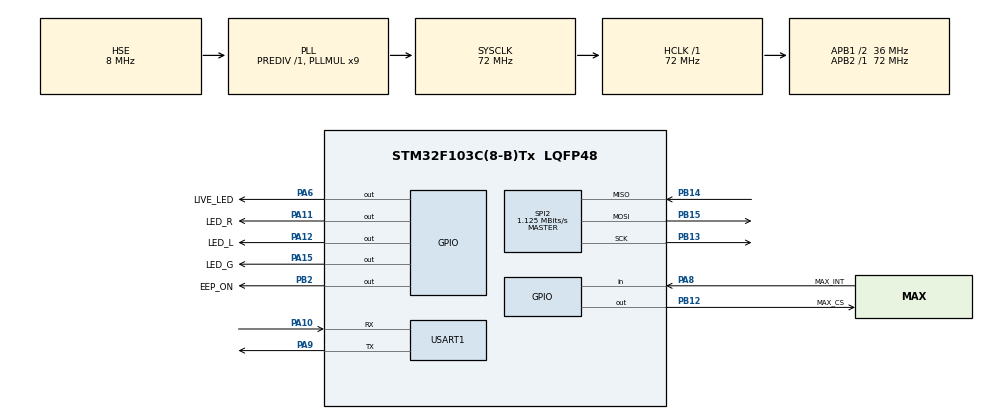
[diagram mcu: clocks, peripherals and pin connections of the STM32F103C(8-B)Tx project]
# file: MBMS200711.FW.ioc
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Mcu.Family=STM32F1
NVIC.DMA1_Channel5_IRQn=true\:0\:0\:false\:false\:true\:false\:true
SPI2.VirtualType=VM_MASTER
PA6.GPIO_Label=LIVE_LED
PB13.Signal=SPI2_SCK
PB15.Signal=SPI2_MOSI
RCC.SYSCLKSource=RCC_SYSCLKSOURCE_PLLCLK
ProjectManager.StackSize=0x400
PD1-OSC_OUT.Signal=RCC_OSC_OUT
PA15.GPIO_Label=LED_G
PA12.Signal=GPIO_Output
RCC.HCLKFreq_Value=72000000
RCC.APB2TimFreq_Value=72000000
PB12.PinState=GPIO_PIN_SET
RCC.AHBFreq_Value=72000000
SPI2.BaudRatePrescaler=SPI_BAUDRATEPRESCALER_32
Dma.USART1_RX.0.Priority=DMA_PRIORITY_LOW
PB2.Signal=GPIO_Output
PB3.Mode=Trace_Asynchronous_SW
RCC.PLLMUL=RCC_PLL_MUL9
PB12.GPIO_Label=MAX_CS
PA14.Mode=Trace_Asynchronous_SW
PB14.Mode=Full_Duplex_Master
SPI2.CalculateBaudRate=1.125 MBits/s
PA8.Signal=GPIO_Input
Dma.USART1_RX.0.MemInc=DMA_MINC_ENABLE
Mcu.Package=LQFP48
PB14.GPIO_PuPd=GPIO_PULLUP
PA6.Signal=GPIO_Output
SPI2.Mode=SPI_MODE_MASTER
PA10.Signal=USART1_RX
PA15.Signal=GPIO_Output
RCC.APB1TimFreq_Value=72000000
Dma.USART1_RX.0.Mode=DMA_NORMAL
SPI2.Direction=SPI_DIRECTION_2LINES
PB13.Mode=Full_Duplex_Master
NVIC.USART1_IRQn=true\:0\:0\:false\:false\:true\:true\:true
Dma.Request0=USART1_RX
Dma.USART1_RX.0.Instance=DMA1_Channel5
RCC.PLLSourceVirtual=RCC_PLLSOURCE_HSE
PD1-OSC_OUT.Mode=HSE-External-Oscillator
Dma.USART1_RX.0.PeriphDataAlignment=DMA_PDATAALIGN_BYTE
PA10.Mode=Asynchronous
RCC.USBPrescaler=RCC_USBCLKSOURCE_PLL_DIV1_5
PA11.GPIO_Label=LED_R
PD0-OSC_IN.Signal=RCC_OSC_IN
RCC.APB1CLKDivider=RCC_HCLK_DIV2
PA12.GPIO_Label=LED_L
RCC.ADCPresc=RCC_ADCPCLK2_DIV8
PA13.Signal=SYS_JTMS-SWDIO
PA9.Mode=Asynchronous
PA8.GPIO_Label=MAX_INT
ProjectManager.TargetToolchain=STM32CubeIDE
Dma.USART1_RX.0.Direction=DMA_PERIPH_TO_MEMORY
PA9.Signal=USART1_TX
RCC.USBFreq_Value=48000000
Dma.USART1_RX.0.PeriphInc=DMA_PINC_DISABLE
PB12.GPIO_Speed=GPIO_SPEED_FREQ_HIGH
PD0-OSC_IN.Mode=HSE-External-Oscillator
PB14.Signal=SPI2_MISO
board=custom
PB15.Mode=Full_Duplex_Master
RCC.APB2Freq_Value=72000000
PB15.GPIO_Speed=GPIO_SPEED_FREQ_HIGH
Dma.USART1_RX.0.MemDataAlignment=DMA_MDATAALIGN_BYTE
PA13.Mode=Trace_Asynchronous_SW
Mcu.Name=STM32F103C(8-B)Tx
PB3.Signal=SYS_JTDO-TRACESWO
RCC.SYSCLKFreq_VALUE=72000000
USART1.VirtualMode=VM_ASYNC
PA11.Signal=GPIO_Output
PA14.Signal=SYS_JTCK-SWCLK
PB2.GPIO_Label=EEP_ON
ProjectManager.HeapSize=0x200
NVIC.PriorityGroup=NVIC_PRIORITYGROUP_4
PB12.GPIO_PuPd=GPIO_PULLUP
RCC.APB1Freq_Value=36000000
PB12.Signal=GPIO_Output

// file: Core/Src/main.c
/* USER CODE BEGIN Header */
/**
  ******************************************************************************
  * @file           : main.c
  * @brief          : Main program body
  ******************************************************************************
  * @attention
  *
  * <h2><center>&copy; Copyright (c) 2020 STMicroelectronics.
  * All rights reserved.</center></h2>
  *
  * This software component is licensed by ST under BSD 3-Clause license,
  * the "License"; You may not use this file except in compliance with the
  * License. You may obtain a copy of the License at:
  *                        opensource.org/licenses/BSD-3-Clause
  *
  ******************************************************************************
  */
/* USER CODE END Header */
#include "main.h"

/* USER CODE BEGIN Includes */

#include "common.h"
#include "LiveLed.h"
#include "StringPlus.h"
#include "asci.h"
/* USER CODE END Includes */

/* USER CODE BEGIN PTD */
typedef struct _DeviceTypeDef
{
  struct _status
  {
    uint32_t UartTaskCnt;
    uint32_t SuccessParsedCmdCnt;
  }Status;

}DeviceTypeDef;

/* USER CODE END PTD */

/* USER CODE BEGIN PD */
#define UART_BUFFER_SIZE        40
#define CMDLINE_UNKNOWN_PARAMETER_ERROR    "!UNKNOWN PARAMETER ERROR '%s'"
/* USER CODE END PD */

SPI_HandleTypeDef hspi2;

UART_HandleTypeDef huart1;
DMA_HandleTypeDef hdma_usart1_rx;

/* USER CODE BEGIN PV */
LiveLED_HnadleTypeDef hLiveLed;
DeviceTypeDef Device;
uint32_t UartRxTimestamp;
char UartRxBuffer[UART_BUFFER_SIZE];
char UartTxBuffer[UART_BUFFER_SIZE];
char Receive[UART_BUFFER_SIZE];

/* USER CODE END PV */

void SystemClock_Config(void);
static void MX_GPIO_Init(void);
static void MX_DMA_Init(void);
static void MX_SPI2_Init(void);
static void MX_USART1_UART_Init(void);
void UartTask(void);
/* USER CODE BEGIN PFP */
void LiveLedOff(void);
void LiveLedOn(void);

/* USER CODE END PFP */

/* USER CODE BEGIN 0 */
void HAL_UART_RxCpltCallback(UART_HandleTypeDef *huart)
{
  DeviceErrLog("Megtelt");
}

void UartTask(void)
{
  if(strlen(UartRxBuffer)==0)
    return;

  uint8_t terminated = 0;
  for(uint8_t i=0; i<strlen(UartRxBuffer);i++)
    if(UartRxBuffer[i]=='\r' || UartRxBuffer[i]=='\n')
    {
      UartRxBuffer[i]=0;
      terminated = 1;
    }

  if(!terminated)
     return;
  else
    HAL_UART_DMAStop(&huart1);

  if(!strcmp(UartRxBuffer , "*OPC?"))
  {
    Device.Status.SuccessParsedCmdCnt++;
    strcpy(UartTxBuffer, "*OPC");
  }
  else
  {
    sprintf(UartTxBuffer, CMDLINE_UNKNOWN_PARAMETER_ERROR, UartRxBuffer);
  }

  uint8_t resp_len =strlen(UartTxBuffer);
  UartTxBuffer[resp_len]= '\r';
  UartTxBuffer[++resp_len]= 0;

  if(strlen(UartTxBuffer)!=0)
  {
    //!!!DeviceDbgLog("Rx:%s, Tx:%s",UartRxBuffer,UartTxBuffer);
    HAL_UART_Transmit(&huart1, (uint8_t*) UartTxBuffer, sizeof(UartTxBuffer), 100);
    memset(UartTxBuffer,0x00,UART_BUFFER_SIZE);
    HAL_UART_Receive_DMA(&huart1, (uint8_t*) UartRxBuffer, UART_BUFFER_SIZE);
  }
}
/* USER CODE END 0 */

int main(void)
{

  /* MCU Configuration--------------------------------------------------------*/

  /* Reset of all peripherals, Initializes the Flash interface and the Systick. */
  HAL_Init();

  /* USER CODE BEGIN Init */
  /*** LiveLed ***/
  hLiveLed.LedOffFnPtr = &LiveLedOff;
  hLiveLed.LedOnFnPtr = &LiveLedOn;
  hLiveLed.HalfPeriodTimeMs = 500;
  LiveLedInit(&hLiveLed);
  /* USER CODE END Init */

  /* Configure the system clock */
  SystemClock_Config();

  /* Initialize all configured peripherals */
  MX_GPIO_Init();
  MX_DMA_Init();
  MX_SPI2_Init();
  MX_USART1_UART_Init();
  /* USER CODE BEGIN 2 */

  DelayMs(500);

  DeviceUsrLog(VT100_CLEARSCREEN);
  DeviceUsrLog(VT100_CURSORHOME);
  DeviceUsrLog(VT100_ATTR_RESET);

#ifdef DEBUG
  DeviceUsrLog(VT100_ATTR_RED);
  DeviceUsrLog("This is a DEBUG version.");
  DeviceUsrLog(VT100_ATTR_RESET);
#endif

  DeviceUsrLog("Manufacturer:%s, Name:%s, Version:%04X",DEVICE_MNF, DEVICE_NAME, DEVICE_FW);

  UartRxTimestamp = HAL_GetTick();

  AsciAdapterInit();
  HAL_UART_Receive_DMA (&huart1, (uint8_t*)UartRxBuffer, UART_BUFFER_SIZE);
  /* USER CODE END 2 */

  /* Infinite loop */
  while (1)
  {

    /* USER CODE BEGIN 3 */
    LiveLedTask(&hLiveLed);
    AsciAdapterTask();
    UartTask();
  }
  /* USER CODE END 3 */
}

void SystemClock_Config(void)
{
  RCC_OscInitTypeDef RCC_OscInitStruct = {0};
  RCC_ClkInitTypeDef RCC_ClkInitStruct = {0};

  /** Initializes the RCC Oscillators according to the specified parameters
  * in the RCC_OscInitTypeDef structure.
  */
  RCC_OscInitStruct.OscillatorType = RCC_OSCILLATORTYPE_HSE;
  RCC_OscInitStruct.HSEState = RCC_HSE_ON;
  RCC_OscInitStruct.HSEPredivValue = RCC_HSE_PREDIV_DIV1;
  RCC_OscInitStruct.HSIState = RCC_HSI_ON;
  RCC_OscInitStruct.PLL.PLLState = RCC_PLL_ON;
  RCC_OscInitStruct.PLL.PLLSource = RCC_PLLSOURCE_HSE;
  RCC_OscInitStruct.PLL.PLLMUL = RCC_PLL_MUL9;
  if (HAL_RCC_OscConfig(&RCC_OscInitStruct) != HAL_OK)
  {
    Error_Handler();
  }
  /** Initializes the CPU, AHB and APB buses clocks
  */
  RCC_ClkInitStruct.ClockType = RCC_CLOCKTYPE_HCLK|RCC_CLOCKTYPE_SYSCLK
                              |RCC_CLOCKTYPE_PCLK1|RCC_CLOCKTYPE_PCLK2;
  RCC_ClkInitStruct.SYSCLKSource = RCC_SYSCLKSOURCE_PLLCLK;
  RCC_ClkInitStruct.AHBCLKDivider = RCC_SYSCLK_DIV1;
  RCC_ClkInitStruct.APB1CLKDivider = RCC_HCLK_DIV2;
  RCC_ClkInitStruct.APB2CLKDivider = RCC_HCLK_DIV1;

  if (HAL_RCC_ClockConfig(&RCC_ClkInitStruct, FLASH_LATENCY_2) != HAL_OK)
  {
    Error_Handler();
  }
}

static void MX_SPI2_Init(void)
{

  /* SPI2 parameter configuration*/
  hspi2.Instance = SPI2;
  hspi2.Init.Mode = SPI_MODE_MASTER;
  hspi2.Init.Direction = SPI_DIRECTION_2LINES;
  hspi2.Init.DataSize = SPI_DATASIZE_8BIT;
  hspi2.Init.CLKPolarity = SPI_POLARITY_LOW;
  hspi2.Init.CLKPhase = SPI_PHASE_1EDGE;
  hspi2.Init.NSS = SPI_NSS_SOFT;
  hspi2.Init.BaudRatePrescaler = SPI_BAUDRATEPRESCALER_32;
  hspi2.Init.FirstBit = SPI_FIRSTBIT_MSB;
  hspi2.Init.TIMode = SPI_TIMODE_DISABLE;
  hspi2.Init.CRCCalculation = SPI_CRCCALCULATION_DISABLE;
  hspi2.Init.CRCPolynomial = 10;
  if (HAL_SPI_Init(&hspi2) != HAL_OK)
  {
    Error_Handler();
  }

}

static void MX_USART1_UART_Init(void)
{

  huart1.Instance = USART1;
  huart1.Init.BaudRate = 115200;
  huart1.Init.WordLength = UART_WORDLENGTH_8B;
  huart1.Init.StopBits = UART_STOPBITS_1;
  huart1.Init.Parity = UART_PARITY_NONE;
  huart1.Init.Mode = UART_MODE_TX_RX;
  huart1.Init.HwFlowCtl = UART_HWCONTROL_NONE;
  huart1.Init.OverSampling = UART_OVERSAMPLING_16;
  if (HAL_UART_Init(&huart1) != HAL_OK)
  {
    Error_Handler();
  }

}

static void MX_DMA_Init(void)
{

  /* DMA controller clock enable */
  __HAL_RCC_DMA1_CLK_ENABLE();

  /* DMA interrupt init */
  /* DMA1_Channel5_IRQn interrupt configuration */
  HAL_NVIC_SetPriority(DMA1_Channel5_IRQn, 0, 0);
  HAL_NVIC_EnableIRQ(DMA1_Channel5_IRQn);

}

static void MX_GPIO_Init(void)
{
  GPIO_InitTypeDef GPIO_InitStruct = {0};

  /* GPIO Ports Clock Enable */
  __HAL_RCC_GPIOD_CLK_ENABLE();
  __HAL_RCC_GPIOA_CLK_ENABLE();
  __HAL_RCC_GPIOB_CLK_ENABLE();

  /*Configure GPIO pin Output Level */
  HAL_GPIO_WritePin(GPIOA, LIVE_LED_Pin|LED_R_Pin|LED_L_Pin|LED_G_Pin, GPIO_PIN_RESET);

  /*Configure GPIO pin Output Level */
  HAL_GPIO_WritePin(EEP_ON_GPIO_Port, EEP_ON_Pin, GPIO_PIN_RESET);

  /*Configure GPIO pin Output Level */
  HAL_GPIO_WritePin(MAX_CS_GPIO_Port, MAX_CS_Pin, GPIO_PIN_SET);

  /*Configure GPIO pins : LIVE_LED_Pin LED_R_Pin LED_L_Pin LED_G_Pin */
  GPIO_InitStruct.Pin = LIVE_LED_Pin|LED_R_Pin|LED_L_Pin|LED_G_Pin;
  GPIO_InitStruct.Mode = GPIO_MODE_OUTPUT_PP;
  GPIO_InitStruct.Pull = GPIO_NOPULL;
  GPIO_InitStruct.Speed = GPIO_SPEED_FREQ_LOW;
  HAL_GPIO_Init(GPIOA, &GPIO_InitStruct);

  /*Configure GPIO pin : EEP_ON_Pin */
  GPIO_InitStruct.Pin = EEP_ON_Pin;
  GPIO_InitStruct.Mode = GPIO_MODE_OUTPUT_PP;
  GPIO_InitStruct.Pull = GPIO_NOPULL;
  GPIO_InitStruct.Speed = GPIO_SPEED_FREQ_LOW;
  HAL_GPIO_Init(EEP_ON_GPIO_Port, &GPIO_InitStruct);

  /*Configure GPIO pin : MAX_CS_Pin */
  GPIO_InitStruct.Pin = MAX_CS_Pin;
  GPIO_InitStruct.Mode = GPIO_MODE_OUTPUT_PP;
  GPIO_InitStruct.Pull = GPIO_PULLUP;
  GPIO_InitStruct.Speed = GPIO_SPEED_FREQ_HIGH;
  HAL_GPIO_Init(MAX_CS_GPIO_Port, &GPIO_InitStruct);

  /*Configure GPIO pin : MAX_INT_Pin */
  GPIO_InitStruct.Pin = MAX_INT_Pin;
  GPIO_InitStruct.Mode = GPIO_MODE_INPUT;
  GPIO_InitStruct.Pull = GPIO_NOPULL;
  HAL_GPIO_Init(MAX_INT_GPIO_Port, &GPIO_InitStruct);

}

/* USER CODE BEGIN 4 */
/* printf -------------------------------------------------------------------*/
int _write(int file, char *ptr, int len)
{
  int i=0;
  for(i=0 ; i<len ; i++)
    ITM_SendChar((*ptr++));
  return len;
}

//int _write(int file, char *ptr, int len)
//{
//  HAL_UART_Transmit(&huart1, (uint8_t*)ptr, len, 100);
//  return len;
//}

//int _write(int file, char *ptr, int len)
//{
//  return len;
//}

/* LEDs ---------------------------------------------------------------------*/
void LiveLedOn(void)
{
  HAL_GPIO_WritePin(LIVE_LED_GPIO_Port, LIVE_LED_Pin, GPIO_PIN_SET);
}

void LiveLedOff(void)
{
  HAL_GPIO_WritePin(LIVE_LED_GPIO_Port, LIVE_LED_Pin, GPIO_PIN_RESET);
}

/* USER CODE END 4 */

void Error_Handler(void)
{
}

/************************ (C) COPYRIGHT STMicroelectronics *****END OF FILE****/
